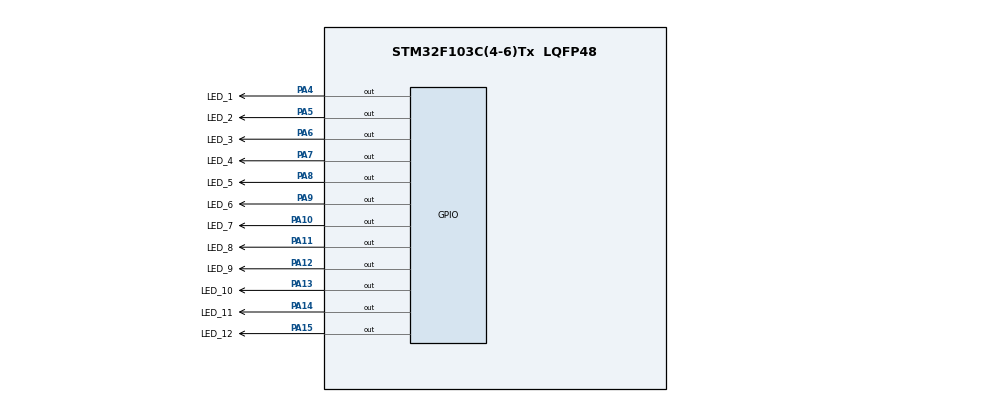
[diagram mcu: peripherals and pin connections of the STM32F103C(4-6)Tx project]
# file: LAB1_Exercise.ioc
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Mcu.Family=STM32F1
Mcu.Name=STM32F103C(4-6)Tx
Mcu.Package=LQFP48
NVIC.PriorityGroup=NVIC_PRIORITYGROUP_4
PA10.GPIO_Label=LED_7
PA10.Signal=GPIO_Output
PA11.GPIO_Label=LED_8
PA11.Signal=GPIO_Output
PA12.GPIO_Label=LED_9
PA12.Signal=GPIO_Output
PA13.GPIO_Label=LED_10
PA13.Signal=GPIO_Output
PA14.GPIO_Label=LED_11
PA14.Signal=GPIO_Output
PA15.GPIO_Label=LED_12
PA15.Signal=GPIO_Output
PA4.GPIO_Label=LED_1
PA4.Signal=GPIO_Output
PA5.GPIO_Label=LED_2
PA5.Signal=GPIO_Output
PA6.GPIO_Label=LED_3
PA6.Signal=GPIO_Output
PA7.GPIO_Label=LED_4
PA7.Signal=GPIO_Output
PA8.GPIO_Label=LED_5
PA8.Signal=GPIO_Output
PA9.GPIO_Label=LED_6
PA9.Signal=GPIO_Output
ProjectManager.HeapSize=0x200
ProjectManager.StackSize=0x400
ProjectManager.TargetToolchain=STM32CubeIDE
RCC.APB1Freq_Value=8000000
RCC.APB2Freq_Value=8000000
board=custom

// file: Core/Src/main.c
/* USER CODE BEGIN Header */
/**
  ******************************************************************************
  * @file           : main.c
  * @brief          : Main program body
  ******************************************************************************
  * @attention
  *
  * Copyright (c) 2024 STMicroelectronics.
  * All rights reserved.
  *
  * This software is licensed under terms that can be found in the LICENSE file
  * in the root directory of this software component.
  * If no LICENSE file comes with this software, it is provided AS-IS.
  *
  ******************************************************************************
  */
/* USER CODE END Header */
#include "main.h"

void SystemClock_Config(void);
static void MX_GPIO_Init(void);

/* USER CODE BEGIN 0 */
uint16_t ledPin[12] = { GPIO_PIN_4, GPIO_PIN_5, GPIO_PIN_6, GPIO_PIN_7, GPIO_PIN_8, GPIO_PIN_9, GPIO_PIN_10, GPIO_PIN_11, GPIO_PIN_12, GPIO_PIN_13, GPIO_PIN_14, GPIO_PIN_15};
void clearAllClock(){
	HAL_GPIO_WritePin(GPIOA, LED_1_Pin|LED_2_Pin|LED_3_Pin|LED_4_Pin
		                          |LED_5_Pin|LED_6_Pin|LED_7_Pin|LED_8_Pin
		                          |LED_9_Pin|LED_10_Pin|LED_11_Pin|LED_12_Pin, SET);
}
void setNumberOnClock(int num){
	switch(num){
	case 0:{
		HAL_GPIO_WritePin(GPIOA, ledPin[0], RESET);
		break;
	}
	case 1:{
		HAL_GPIO_WritePin(GPIOA, ledPin[1], RESET);
		break;
	}
	case 2:{
		HAL_GPIO_WritePin(GPIOA, ledPin[2], RESET);
		break;
	}
	case 3:{
		HAL_GPIO_WritePin(GPIOA, ledPin[3], RESET);
		break;
	}
	case 4:{
		HAL_GPIO_WritePin(GPIOA, ledPin[4], RESET);
		break;
	}
	case 5:{
		HAL_GPIO_WritePin(GPIOA, ledPin[5], RESET);
		break;
	}
	case 6:{
		HAL_GPIO_WritePin(GPIOA, ledPin[6], RESET);
		break;
	}
	case 7:{
		HAL_GPIO_WritePin(GPIOA, ledPin[7], RESET);
		break;
	}
	case 8:{
		HAL_GPIO_WritePin(GPIOA, ledPin[8], RESET);
		break;
	}
	case 9:{
		HAL_GPIO_WritePin(GPIOA, ledPin[9], RESET);
		break;
	}
	case 10:{
		HAL_GPIO_WritePin(GPIOA, ledPin[10], RESET);
		break;
	}
	case 11:{
		HAL_GPIO_WritePin(GPIOA, ledPin[11], RESET);
		break;
	}
	}

}
void clearNumberOnClock(int num){
	switch(num){
	case 0:{
		HAL_GPIO_WritePin(GPIOA, ledPin[0], SET);
		break;
	}
	case 1:{
		HAL_GPIO_WritePin(GPIOA, ledPin[1], SET);
		break;
	}
	case 2:{
		HAL_GPIO_WritePin(GPIOA, ledPin[2], SET);
		break;
	}
	case 3:{
		HAL_GPIO_WritePin(GPIOA, ledPin[3], SET);
		break;
	}
	case 4:{
		HAL_GPIO_WritePin(GPIOA, ledPin[4], SET);
		break;
	}
	case 5:{
		HAL_GPIO_WritePin(GPIOA, ledPin[5], SET);
		break;
	}
	case 6:{
		HAL_GPIO_WritePin(GPIOA, ledPin[6], SET);
		break;
	}
	case 7:{
		HAL_GPIO_WritePin(GPIOA, ledPin[7], SET);
		break;
	}
	case 8:{
		HAL_GPIO_WritePin(GPIOA, ledPin[8], SET);
		break;
	}
	case 9:{
		HAL_GPIO_WritePin(GPIOA, ledPin[9], SET);
		break;
	}
	case 10:{
		HAL_GPIO_WritePin(GPIOA, ledPin[10], SET);
		break;
	}
	case 11:{
		HAL_GPIO_WritePin(GPIOA, ledPin[11], SET);
		break;
	}
	}
}
/* USER CODE END 0 */

int main(void)
{

  /* MCU Configuration--------------------------------------------------------*/

  /* Reset of all peripherals, Initializes the Flash interface and the Systick. */
  HAL_Init();

  /* Configure the system clock */
  SystemClock_Config();

  /* Initialize all configured peripherals */
  MX_GPIO_Init();

  /* Infinite loop */
  /* USER CODE BEGIN WHILE */
  int hours = 0;
  int minutes = 0;
  int seconds = 0;
  while (1)
  {
    /* USER CODE END WHILE */
	  if(hours == 12){
		  hours = 0;
	  }
	  if(minutes == 60){
		  minutes = 0;
		  hours++;
	  }
	  if(seconds == 60){
		  seconds = 0;
		  minutes++;
	  }
	  clearAllClock();
	  setNumberOnClock(hours);
	  setNumberOnClock(minutes/5);
	  setNumberOnClock(seconds/5);
	  seconds++;
	  HAL_Delay(50);
  }
}

void SystemClock_Config(void)
{
  RCC_OscInitTypeDef RCC_OscInitStruct = {0};
  RCC_ClkInitTypeDef RCC_ClkInitStruct = {0};

  /** Initializes the RCC Oscillators according to the specified parameters
  * in the RCC_OscInitTypeDef structure.
  */
  RCC_OscInitStruct.OscillatorType = RCC_OSCILLATORTYPE_HSI;
  RCC_OscInitStruct.HSIState = RCC_HSI_ON;
  RCC_OscInitStruct.HSICalibrationValue = RCC_HSICALIBRATION_DEFAULT;
  RCC_OscInitStruct.PLL.PLLState = RCC_PLL_NONE;
  if (HAL_RCC_OscConfig(&RCC_OscInitStruct) != HAL_OK)
  {
    Error_Handler();
  }

  /** Initializes the CPU, AHB and APB buses clocks
  */
  RCC_ClkInitStruct.ClockType = RCC_CLOCKTYPE_HCLK|RCC_CLOCKTYPE_SYSCLK
                              |RCC_CLOCKTYPE_PCLK1|RCC_CLOCKTYPE_PCLK2;
  RCC_ClkInitStruct.SYSCLKSource = RCC_SYSCLKSOURCE_HSI;
  RCC_ClkInitStruct.AHBCLKDivider = RCC_SYSCLK_DIV1;
  RCC_ClkInitStruct.APB1CLKDivider = RCC_HCLK_DIV1;
  RCC_ClkInitStruct.APB2CLKDivider = RCC_HCLK_DIV1;

  if (HAL_RCC_ClockConfig(&RCC_ClkInitStruct, FLASH_LATENCY_0) != HAL_OK)
  {
    Error_Handler();
  }
}

static void MX_GPIO_Init(void)
{
  GPIO_InitTypeDef GPIO_InitStruct = {0};

  /* GPIO Ports Clock Enable */
  __HAL_RCC_GPIOA_CLK_ENABLE();

  /*Configure GPIO pin Output Level */
  HAL_GPIO_WritePin(GPIOA, LED_1_Pin|LED_2_Pin|LED_3_Pin|LED_4_Pin
                          |LED_5_Pin|LED_6_Pin|LED_7_Pin|LED_8_Pin
                          |LED_9_Pin|LED_10_Pin|LED_11_Pin|LED_12_Pin, GPIO_PIN_RESET);

  /*Configure GPIO pins : LED_1_Pin LED_2_Pin LED_3_Pin LED_4_Pin
                           LED_5_Pin LED_6_Pin LED_7_Pin LED_8_Pin
                           LED_9_Pin LED_10_Pin LED_11_Pin LED_12_Pin */
  GPIO_InitStruct.Pin = LED_1_Pin|LED_2_Pin|LED_3_Pin|LED_4_Pin
                          |LED_5_Pin|LED_6_Pin|LED_7_Pin|LED_8_Pin
                          |LED_9_Pin|LED_10_Pin|LED_11_Pin|LED_12_Pin;
  GPIO_InitStruct.Mode = GPIO_MODE_OUTPUT_PP;
  GPIO_InitStruct.Pull = GPIO_NOPULL;
  GPIO_InitStruct.Speed = GPIO_SPEED_FREQ_LOW;
  HAL_GPIO_Init(GPIOA, &GPIO_InitStruct);

}

void Error_Handler(void)
{
  __disable_irq();
  while (1)
  {
  }
}
